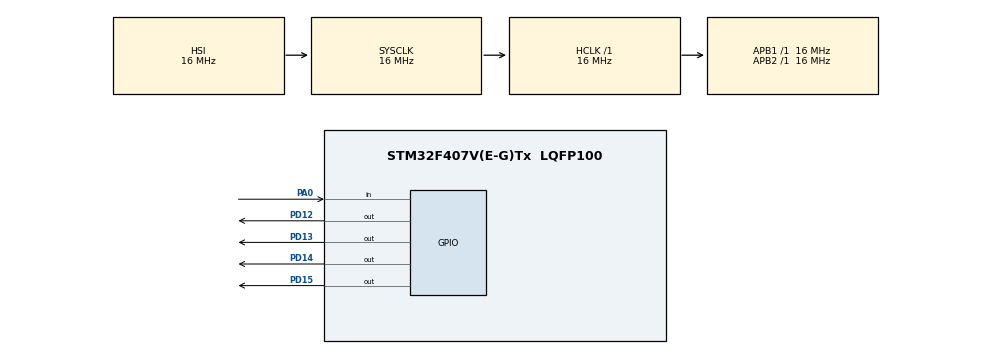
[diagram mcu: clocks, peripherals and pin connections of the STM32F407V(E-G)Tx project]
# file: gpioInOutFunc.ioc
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Mcu.Family=STM32F4
PH0-OSC_IN.Signal=RCC_OSC_IN
RCC.CortexFreq_Value=16000000
ProjectManager.StackSize=0x400
PA0-WKUP.Signal=GPIO_Input
PA13.Signal=SYS_JTMS-SWDIO
PD13.Signal=GPIO_Output
ProjectManager.TargetToolchain=STM32CubeIDE
RCC.LSE_VALUE=32768
RCC.AHBFreq_Value=16000000
PH0-OSC_IN.Mode=HSE-External-Oscillator
RCC.HSE_VALUE=25000000
board=custom
RCC.VCOOutputFreq_Value=192000000
RCC.APB2Freq_Value=16000000
PA14.Mode=Serial_Wire
PH1-OSC_OUT.Signal=RCC_OSC_OUT
PA13.Mode=Serial_Wire
Mcu.Name=STM32F407V(E-G)Tx
PD14.Signal=GPIO_Output
PH1-OSC_OUT.Mode=HSE-External-Oscillator
RCC.SYSCLKFreq_VALUE=16000000
Mcu.Package=LQFP100
PD12.Signal=GPIO_Output
PA14.Signal=SYS_JTCK-SWCLK
ProjectManager.HeapSize=0x200
RCC.HSI_VALUE=16000000
NVIC.PriorityGroup=NVIC_PRIORITYGROUP_4
RCC.APB1Freq_Value=16000000
PD15.Signal=GPIO_Output

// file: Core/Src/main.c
/* USER CODE BEGIN Header */
/**
  ******************************************************************************
  * @file           : main.c
  * @brief          : Main program body
  ******************************************************************************
  * @attention
  *
  * <h2><center>&copy; Copyright (c) 2020 STMicroelectronics.
  * All rights reserved.</center></h2>
  *
  * This software component is licensed by ST under BSD 3-Clause license,
  * the "License"; You may not use this file except in compliance with the
  * License. You may obtain a copy of the License at:
  *                        opensource.org/licenses/BSD-3-Clause
  *
  ******************************************************************************
  */
/* USER CODE END Header */
#include "main.h"

/* USER CODE BEGIN PV */
int pin[4]={GPIO_PIN_12,GPIO_PIN_13,GPIO_PIN_14,GPIO_PIN_15},buton=0;	//Pinler için değişken
int i;	//Döngüler için değişken
/* USER CODE END PV */

void SystemClock_Config(void);
static void MX_GPIO_Init(void);
/* USER CODE BEGIN PFP */
void fonk(void),toplu(void),duz(void),tekCift(void),ciftTek(void),duzSilme(void);
/* USER CODE END PFP */

int main(void)
{

  /* MCU Configuration--------------------------------------------------------*/

  /* Reset of all peripherals, Initializes the Flash interface and the Systick. */
  HAL_Init();

  /* Configure the system clock */
  SystemClock_Config();

  /* Initialize all configured peripherals */
  MX_GPIO_Init();

  /* Infinite loop */
  /* USER CODE BEGIN WHILE */
  while (1)
  {
	  if(HAL_GPIO_ReadPin(GPIOA, GPIO_PIN_0))
	  {
		  HAL_Delay(250);
		  if(HAL_GPIO_ReadPin(GPIOA, GPIO_PIN_0))
		  {
			  buton++;
			  if(buton>5)
			  {
				  buton=0;
			  }
		  }
	  }
	  fonk();
    /* USER CODE END WHILE */

  }
}

void SystemClock_Config(void)
{
  RCC_OscInitTypeDef RCC_OscInitStruct = {0};
  RCC_ClkInitTypeDef RCC_ClkInitStruct = {0};

  /** Configure the main internal regulator output voltage
  */
  __HAL_RCC_PWR_CLK_ENABLE();
  __HAL_PWR_VOLTAGESCALING_CONFIG(PWR_REGULATOR_VOLTAGE_SCALE1);
  /** Initializes the RCC Oscillators according to the specified parameters
  * in the RCC_OscInitTypeDef structure.
  */
  RCC_OscInitStruct.OscillatorType = RCC_OSCILLATORTYPE_HSI;
  RCC_OscInitStruct.HSIState = RCC_HSI_ON;
  RCC_OscInitStruct.HSICalibrationValue = RCC_HSICALIBRATION_DEFAULT;
  RCC_OscInitStruct.PLL.PLLState = RCC_PLL_NONE;
  if (HAL_RCC_OscConfig(&RCC_OscInitStruct) != HAL_OK)
  {
    Error_Handler();
  }
  /** Initializes the CPU, AHB and APB buses clocks
  */
  RCC_ClkInitStruct.ClockType = RCC_CLOCKTYPE_HCLK|RCC_CLOCKTYPE_SYSCLK
                              |RCC_CLOCKTYPE_PCLK1|RCC_CLOCKTYPE_PCLK2;
  RCC_ClkInitStruct.SYSCLKSource = RCC_SYSCLKSOURCE_HSI;
  RCC_ClkInitStruct.AHBCLKDivider = RCC_SYSCLK_DIV1;
  RCC_ClkInitStruct.APB1CLKDivider = RCC_HCLK_DIV1;
  RCC_ClkInitStruct.APB2CLKDivider = RCC_HCLK_DIV1;

  if (HAL_RCC_ClockConfig(&RCC_ClkInitStruct, FLASH_LATENCY_0) != HAL_OK)
  {
    Error_Handler();
  }
}

static void MX_GPIO_Init(void)
{
  GPIO_InitTypeDef GPIO_InitStruct = {0};

  /* GPIO Ports Clock Enable */
  __HAL_RCC_GPIOH_CLK_ENABLE();
  __HAL_RCC_GPIOA_CLK_ENABLE();
  __HAL_RCC_GPIOD_CLK_ENABLE();

  /*Configure GPIO pin Output Level */
  HAL_GPIO_WritePin(GPIOD, GPIO_PIN_12|GPIO_PIN_13|GPIO_PIN_14|GPIO_PIN_15, GPIO_PIN_RESET);

  /*Configure GPIO pin : PA0 */
  GPIO_InitStruct.Pin = GPIO_PIN_0;
  GPIO_InitStruct.Mode = GPIO_MODE_INPUT;
  GPIO_InitStruct.Pull = GPIO_NOPULL;
  HAL_GPIO_Init(GPIOA, &GPIO_InitStruct);

  /*Configure GPIO pins : PD12 PD13 PD14 PD15 */
  GPIO_InitStruct.Pin = GPIO_PIN_12|GPIO_PIN_13|GPIO_PIN_14|GPIO_PIN_15;
  GPIO_InitStruct.Mode = GPIO_MODE_OUTPUT_PP;
  GPIO_InitStruct.Pull = GPIO_NOPULL;
  GPIO_InitStruct.Speed = GPIO_SPEED_FREQ_LOW;
  HAL_GPIO_Init(GPIOD, &GPIO_InitStruct);

}

/* USER CODE BEGIN 4 */
void fonk(void)
{
	switch (buton)
	{
	case 1:
		toplu();
		break;
	case 2:
		duz();
		break;
	case 3:
		tekCift();
		break;
	case 4:
		ciftTek();
		break;
	case 5:
		duzSilme();
		break;
	}
}
void toplu()	//Bütün ışıklar aynı anda yanar
{
	for (i=0;i<4;i++)
	{
		HAL_GPIO_WritePin(GPIOD,pin[i],1);
	}
	HAL_Delay(1000);
	for (i=0;i<4;i++)
	{
		HAL_GPIO_WritePin(GPIOD,pin[i],0);
	}
}
void duz()	//Işıklar tek tek yanar
{
	HAL_Delay(1000);
	for (i=0;i<4;i++)
	{
		HAL_GPIO_WritePin(GPIOD,pin[i],1);
		HAL_Delay(1000);
		HAL_GPIO_WritePin(GPIOD,pin[i],0);
	}
}
void tekCift()	//Işıklar 13-15-12-14 sırasıyla yanar
{
	HAL_Delay(1000);
	for (i=0;i<4;i=i+2)
	{
		HAL_GPIO_WritePin(GPIOD,pin[i],1);
		HAL_Delay(1000);
		HAL_GPIO_WritePin(GPIOD,pin[i],0);
	}

	for (i=1;i<4;i=i+2)
	{
		HAL_GPIO_WritePin(GPIOD,pin[i],1);
		HAL_Delay(1000);
		HAL_GPIO_WritePin(GPIOD,pin[i],0);
	}
}
void ciftTek()	//Işıklar 12-14-13-15 sırasıyla yanar
{
	HAL_Delay(1000);
	for (i=1;i<4;i=i+2)
	{
		HAL_GPIO_WritePin(GPIOD,pin[i],1);
		HAL_Delay(1000);
		HAL_GPIO_WritePin(GPIOD,pin[i],0);
	}

	for (i=0;i<4;i=i+2)
	{
		HAL_GPIO_WritePin(GPIOD,pin[i],1);
		HAL_Delay(1000);
		HAL_GPIO_WritePin(GPIOD,pin[i],0);
	}
}
void duzSilme()	//Bütün ışıklar yanar ve sırasıyla söner
{
	HAL_Delay(1000);
	for (i=0;i<4;i++)
	{
		HAL_GPIO_WritePin(GPIOD,pin[i],1);
	}
	HAL_Delay(1000);
	for (i=0;i<4;i++)
	{
		HAL_GPIO_WritePin(GPIOD,pin[i],0);
		HAL_Delay(1000);
	}
}

/* USER CODE END 4 */

void Error_Handler(void)
{
  __disable_irq();
  while (1)
  {
  }
}

/************************ (C) COPYRIGHT STMicroelectronics *****END OF FILE****/
